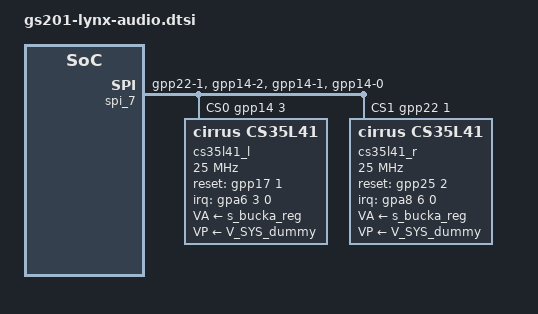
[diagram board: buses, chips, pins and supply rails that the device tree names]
// SPDX-License-Identifier: GPL-2.0-only
/*
 * Google GS201 Lynx common audio device tree source
 *
 * Copyright (c) 2021 Google, LLC
 *          https://www.google.com
 *
 *  cs35l41_l = top
 *  cs35l41_r = bottom
 */
#include <arm64/exynos/exynos-pinctrl.h>
#include "gs201/gs101-pinctrl.h"
#include <dt-bindings/gpio/gpio.h>
#include <dt-bindings/sound/google-aoc.h>

&aoc {
	aoc-board-cfg = "L10";
	aoc-board-id = <0x30501>;
	aoc-board-rev = <0x10000>;
};

&dai_be_tdm0_rx {
	codec {
		sound-dai = <&cs35l41_l 0>,
			<&cs35l41_r 0>;
	};
};

&dai_be_tdm0_tx {
	codec {
		sound-dai = <&cs35l41_l 0>,
			<&cs35l41_r 0>;
	};
};

&aoc_snd_card {
	clks {
		sys {
			sys@cs35l41_l {
				comp = <&cs35l41_l>;
				src = "BCLK";
				/* clk id */
				id = <0>;
				/* clk source */
				srcid = <0>;
				/* in clk multiple */
				in_mul = <1>;
				/* out clk multiple */
				out_mul = <1>;
			};

			sys@cs35l41_r {
				comp = <&cs35l41_r>;
				src = "BCLK";
				/* clk id */
				id = <0>;
				/* clk source */
				srcid = <0>;
				/* in clk multiple */
				in_mul = <1>;
				/* out clk multiple */
				out_mul = <1>;
			};
		};
	};
};

/* GPIO_FAR_ALIVE */
&pinctrl_1 {
	cs35l41_l_irq: cs35l41-l-irq {
		samsung,pins = "gpa6-3"; /* XEINT_3 - AMP1_IRQ_L */
		samsung,pin-function = <EXYNOS_PIN_FUNC_EINT>;
		samsung,pin-pud = <EXYNOS_PIN_PULL_NONE>;
	};

	cs35l41_r_irq: cs35l41-r-irq {
		samsung,pins = "gpa8-6"; /* XEINT_18 - AMP2_IRQ_L */
		samsung,pin-function = <EXYNOS_PIN_FUNC_EINT>;
		samsung,pin-pud = <EXYNOS_PIN_PULL_NONE>;
	};
};

/* GPIO_PERIC0 */
&pinctrl_4 {
	cs35l41_clk: cs35l41-clk {
		samsung,pins = "gpp14-0"; /* XAPC_USI7_RXD_CLK_SCL - AUDIO_SPI_CLK */
		samsung,pin-drv = <GS101_PIN_DRV_5_MA>;
	};

	cs35l41_mosi: cs35l41-mosi {
		samsung,pins = "gpp14-1"; /* XAPC_USI7_TXD_DO_SDA - AUDIO_SPI_MOSI */
		samsung,pin-drv = <GS101_PIN_DRV_5_MA>;
	};

	cs35l41_miso: cs35l41-miso {
		samsung,pins = "gpp14-2"; /* XAPC_USI7_RTSn_DI - AUDIO_SPI_MISO */
		samsung,pin-pud = <EXYNOS_PIN_PULL_DOWN>;
	};

	cs35l41_cs1: cs35l41-cs1 {
		samsung,pins = "gpp14-3"; /* XAPC_USI7_CTSN_CSN - AUDIO_AMP1_SPI_CS_L */
		samsung,pin-function = <EXYNOS_PIN_FUNC_OUTPUT>;
		samsung,pin-pud = <EXYNOS_PIN_PULL_NONE>;
	};

	cs35l41_l_rst: cs35l41-l-rst {
		samsung,pins = "gpp17-1"; /* XAPC_VSYNC8 - AMP1_RESET_L */
		samsung,pin-function = <EXYNOS_PIN_FUNC_OUTPUT>;
		samsung,pin-pud = <EXYNOS_PIN_PULL_NONE>;
		samsung,pin-con-pdn = <EXYNOS_PIN_PDN_PREV>;
		samsung,pin-pud-pdn = <EXYNOS_PIN_PULL_NONE>;
	};
};

/* GPIO_PERIC1 */
&pinctrl_5 {
	cs35l41_cs2: cs35l41-cs2 {
		samsung,pins = "gpp22-1"; /* XAPC_GPIO5 - AUDIO_AMP2_SPI_CS_L */
		samsung,pin-function = <EXYNOS_PIN_FUNC_OUTPUT>;
		samsung,pin-pud = <EXYNOS_PIN_PULL_NONE>;
	};

	cs35l41_r_rst: cs35l41-r-rst {
		samsung,pins = "gpp25-2"; /* XAPC_USI13_RTSn_DI - AMP2_RESET_L */
		samsung,pin-function = <EXYNOS_PIN_FUNC_OUTPUT>;
		samsung,pin-pud = <EXYNOS_PIN_PULL_NONE>;
		samsung,pin-con-pdn = <EXYNOS_PIN_PDN_PREV>;
		samsung,pin-pud-pdn = <EXYNOS_PIN_PULL_NONE>;
	};
};

&spi7_cs_func {
	samsung,pins = "gpp14-3";
	samsung,pin-drv = <GS101_PIN_DRV_5_MA>;
};

&spi_7 {
	/* XAPC_USI7 */
	#address-cells = <1>;
	#size-cells = <0>;
	status = "okay";

	pinctrl-names = "default";
	pinctrl-0 = <&spi7_bus &spi7_cs_func &cs35l41_cs2
		     &cs35l41_miso &cs35l41_mosi &cs35l41_clk>;
	cs-gpios = <&gpp14 3 GPIO_ACTIVE_HIGH>, <&gpp22 1 GPIO_ACTIVE_HIGH>;

	cs35l41_l: cs35l41@0 {
		#sound-dai-cells = <1>;
		compatible = "cirrus,cs35l41";
		spi-max-frequency = <25000000>;
		reg = <0>;

		status = "okay";

		pinctrl-names = "default";
		pinctrl-0 = <&cs35l41_l_irq &cs35l41_l_rst>;

		interrupt-parent = <&gpa6>;
		interrupts = <3 0 0>;

		reset-gpios = <&gpp17 1 0>;

		VA-supply = <&s_bucka_reg>;
		VP-supply = <&V_SYS_dummy>;

		cirrus,boost-peak-milliamp = <3500>;
		cirrus,boost-ind-nanohenry = <1000>;
		cirrus,boost-cap-microfarad = <4>;

		cirrus,asp-sdout-hiz = <3>;
		cirrus,tuning-has-prefix;
		cirrus,hw-noise-gate-select = <63>;
		/* cirrus,hibernate-enable; */

		cirrus,gpio-config2 {
			cirrus,gpio-src-select = <0x5>;
			cirrus,gpio-output-enable;
		};

		controller-data {
			cs-gpio = <&gpp14 3 GPIO_ACTIVE_HIGH>;
			samsung,spi-feedback-delay = <1>;
			/* SET SPI CS CONTROL TO AUTOMATIC */
			samsung,spi-chip-select-mode = <1>;
		};
	};


	cs35l41_r: cs35l41@1 {
		#sound-dai-cells = <1>;
		sound-name-prefix = "R";
		compatible = "cirrus,cs35l41";
		spi-max-frequency = <25000000>;
		reg = <1>;

		status = "okay";

		pinctrl-names = "default";
		pinctrl-0 = <&cs35l41_r_irq &cs35l41_r_rst>;

		interrupt-parent = <&gpa8>;
		interrupts = <6 0 0>;

		reset-gpios = <&gpp25 2 0>;

		VA-supply = <&s_bucka_reg>;
		VP-supply = <&V_SYS_dummy>;

		cirrus,boost-peak-milliamp = <3500>;
		cirrus,boost-ind-nanohenry = <1000>;
		cirrus,boost-cap-microfarad = <4>;

		cirrus,asp-sdout-hiz = <3>;
		cirrus,tuning-has-prefix;
		cirrus,hw-noise-gate-select = <63>;
		/* cirrus,hibernate-enable; */
		cirrus,right-channel-amp;

		cirrus,gpio-config2 {
			cirrus,gpio-src-select = <0x5>;
			cirrus,gpio-output-enable;
		};

		controller-data {
			cs-gpio =<&gpp22 1 GPIO_ACTIVE_HIGH>;
			samsung,spi-feedback-delay = <1>;
			/* SET SPI CS CONTROL TO AUTOMATIC */
			samsung,spi-chip-select-mode = <1>;
		};
	};
};
